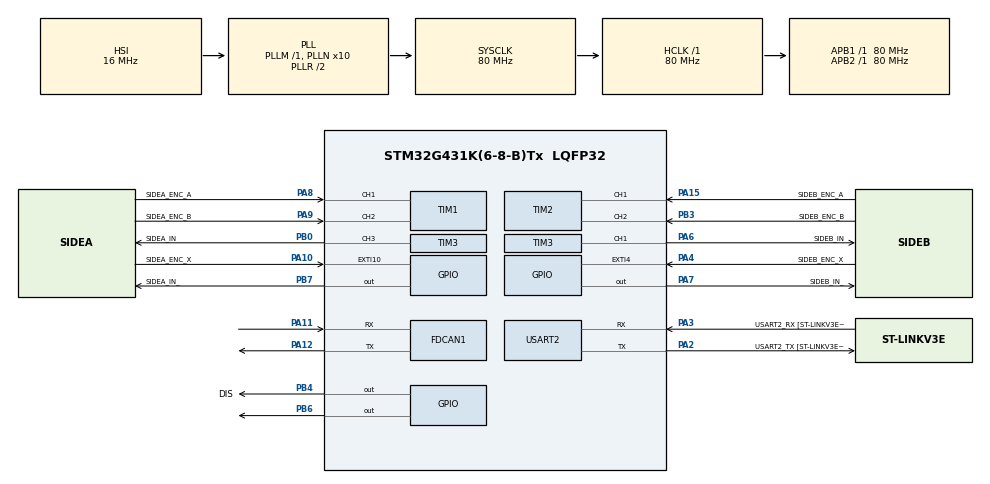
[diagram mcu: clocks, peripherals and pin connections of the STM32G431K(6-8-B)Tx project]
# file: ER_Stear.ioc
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FDCAN1.CalculateBaudRateNominal=1000000
FDCAN1.CalculateTimeBitNominal=1000
FDCAN1.CalculateTimeQuantumNominal=62.5
FDCAN1.DataPrescaler=2
FDCAN1.DataSyncJumpWidth=2
FDCAN1.DataTimeSeg1=10
FDCAN1.DataTimeSeg2=9
FDCAN1.FrameFormat=FDCAN_FRAME_FD_BRS
FDCAN1.NominalPrescaler=5
FDCAN1.NominalSyncJumpWidth=2
FDCAN1.NominalTimeSeg1=13
FDCAN1.StdFiltersNbr=1
Mcu.Family=STM32G4
Mcu.Name=STM32G431K(6-8-B)Tx
Mcu.Package=LQFP32
NVIC.EXTI15_10_IRQn=true\:0\:0\:false\:false\:true\:true\:true\:true
NVIC.EXTI4_IRQn=true\:0\:0\:false\:false\:true\:true\:true\:true
NVIC.FDCAN1_IT0_IRQn=true\:0\:0\:false\:false\:true\:true\:true\:true
NVIC.PriorityGroup=NVIC_PRIORITYGROUP_4
NVIC.TIM1_TRG_COM_TIM17_IRQn=true\:15\:0\:false\:false\:true\:false\:true\:true
NVIC.TIM4_IRQn=true\:0\:0\:false\:false\:true\:true\:true\:true
NVIC.TimeBase=TIM1_TRG_COM_TIM17_IRQn
NVIC.TimeBaseIP=TIM17
NVIC.USART2_IRQn=true\:0\:0\:false\:false\:true\:true\:true\:true
PA10.GPIO_Label=SIDEA_ENC_X
PA10.Signal=GPXTI10
PA11.Mode=FDCAN_Activate
PA11.Signal=FDCAN1_RX
PA12.Mode=FDCAN_Activate
PA12.Signal=FDCAN1_TX
PA13.GPIO_Label=T_SWDIO
PA13.Mode=Serial_Wire
PA13.Signal=SYS_JTMS-SWDIO
PA14.GPIO_Label=T_SWCLK
PA14.Mode=Serial_Wire
PA14.Signal=SYS_JTCK-SWCLK
PA15.GPIO_Label=SIDEB_ENC_A
PA15.GPIO_PuPd=GPIO_PULLDOWN
PA15.Signal=S_TIM2_CH1
PA2.GPIO_Label=USART2_TX [ST-LINKV3E_VCP_RX]
PA2.Mode=Asynchronous
PA2.Signal=USART2_TX
PA3.GPIO_Label=USART2_RX [ST-LINKV3E_VCP_TX]
PA3.Mode=Asynchronous
PA3.Signal=USART2_RX
PA4.GPIO_Label=SIDEB_ENC_X
PA4.Signal=GPXTI4
PA6.GPIO_Label=SIDEB_IN
PA6.Signal=S_TIM3_CH1
PA7.GPIO_Label=SIDEB_IN_
PA7.Signal=GPIO_Output
PA8.GPIO_Label=SIDEA_ENC_A
PA8.Signal=S_TIM1_CH1
PA9.GPIO_Label=SIDEA_ENC_B
PA9.Signal=S_TIM1_CH2
PB0.GPIO_Label=SIDEA_IN
PB0.Signal=S_TIM3_CH3
PB3.GPIO_Label=SIDEB_ENC_B
PB3.Signal=S_TIM2_CH2
PB4.GPIO_Label=DIS
PB4.Signal=GPIO_Output
PB6.Signal=GPIO_Output
PB7.GPIO_Label=SIDEA_IN_
PB7.Signal=GPIO_Output
ProjectManager.HeapSize=0x200
ProjectManager.StackSize=0x400
ProjectManager.TargetToolchain=STM32CubeIDE
RCC.ADC12Freq_Value=80000000
RCC.AHBFreq_Value=80000000
RCC.APB1Freq_Value=80000000
RCC.APB1TimFreq_Value=80000000
RCC.APB2Freq_Value=80000000
RCC.APB2TimFreq_Value=80000000
RCC.CortexFreq_Value=80000000
RCC.EXTERNAL_CLOCK_VALUE=12288000
RCC.HCLKFreq_Value=80000000
RCC.HSE_VALUE=8000000
RCC.HSI48_VALUE=48000000
RCC.HSI_VALUE=16000000
RCC.LSE_VALUE=32768
RCC.PLLN=10
RCC.SYSCLKFreq_VALUE=80000000
RCC.SYSCLKSource=RCC_SYSCLKSOURCE_PLLCLK
RCC.USBFreq_Value=80000000
RCC.VCOOutputFreq_Value=160000000
SH.S_TIM1_CH1.0=TIM1_CH1,Encoder_Interface
SH.S_TIM1_CH2.0=TIM1_CH2,Encoder_Interface
SH.S_TIM2_CH1.0=TIM2_CH1,Encoder_Interface
SH.S_TIM2_CH2.0=TIM2_CH2,Encoder_Interface
SH.S_TIM3_CH1.0=TIM3_CH1,PWM Generation1 CH1
SH.S_TIM3_CH3.0=TIM3_CH3,PWM Generation3 CH3
TIM1.EncoderMode=TIM_ENCODERMODE_TI12
TIM2.EncoderMode=TIM_ENCODERMODE_CLOCKPLUSDIRECTION_X1
TIM3.Channel-PWM\ Generation1\ CH1=TIM_CHANNEL_1
TIM3.Channel-PWM\ Generation3\ CH3=TIM_CHANNEL_3
TIM3.PeriodNoDither=1000-1
TIM3.Prescaler=8-1
TIM4.PeriodNoDither=1000-1
TIM4.Prescaler=80-1
USART2.VirtualMode-Asynchronous=VM_ASYNC
USART2.WordLength=WORDLENGTH_8B
VP_SYS_VS_DBSignals.Mode=DisableDeadBatterySignals
VP_SYS_VS_tim17.Mode=TIM17
VP_TIM3_VS_ClockSourceINT.Mode=Internal
VP_TIM4_VS_ClockSourceINT.Mode=Internal
board=NUCLEO-G431KB

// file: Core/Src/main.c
/* USER CODE BEGIN Header */
/**
  ******************************************************************************
  * @file           : main.c
  * @brief          : Main program body
  ******************************************************************************
  * @attention
  *
  * <h2><center>&copy; Copyright (c) 2023 STMicroelectronics.
  * All rights reserved.</center></h2>
  *
  * This software component is licensed by ST under BSD 3-Clause license,
  * the "License"; You may not use this file except in compliance with the
  * License. You may obtain a copy of the License at:
  *                        opensource.org/licenses/BSD-3-Clause
  *
  ******************************************************************************
  */
/* USER CODE END Header */
#include "main.h"

/* USER CODE BEGIN Includes */
#include "stdio.h"
#include "math.h"
#include <stdlib.h>
#include "PID.h"
/* USER CODE END Includes */

/* USER CODE BEGIN PD */
#define ENCODER_PR_STEER 8192
#define ENCODER_PR_WHEEL 1500

#define FILTER_C 0.9f

#define __abs(x) (((x) > 0) ? (x) : (-1*x))
/* USER CODE END PD */

/* USER CODE BEGIN PM */

#define M1

#ifdef M1
#define THIS_STATUS_CAN_ID 0x511
#define PADDING 0
#endif
#ifdef M2
#define THIS_STATUS_CAN_ID 0x512
#define PADDING 1
#endif
#ifdef M3
#define THIS_STATUS_CAN_ID 0x513
#define PADDING 2
#endif
#ifdef M4
#define THIS_STATUS_CAN_ID 0x514
#define PADDING 3
#endif
/* USER CODE END PM */

FDCAN_HandleTypeDef hfdcan1;

TIM_HandleTypeDef htim1;
TIM_HandleTypeDef htim2;
TIM_HandleTypeDef htim3;
TIM_HandleTypeDef htim4;

UART_HandleTypeDef huart2;

/* USER CODE BEGIN PV */
PIDparamshandleTypeDef hpidSteer = {0};
PIDparamshandleTypeDef hpidWheel = {0};

int16_t enc_buff_A;
int16_t enc_buff_B;

#define BUFF_LEN 5
uint8_t UART_BUFF[BUFF_LEN];

float steer_angle = 0;
float steer_angle_target = 0;
int steer_duty = 0;

float speed = 0;
float speed_target = 0;
int speed_duty = 0;

FDCAN_TxHeaderTypeDef TxHeader;
FDCAN_RxHeaderTypeDef RxHeader;
FDCAN_FilterTypeDef sFilterConfig;

uint8_t TxData[1];
uint8_t RxData[32];
uint32_t TxMailbox;
/* USER CODE END PV */

void SystemClock_Config(void);
static void MX_GPIO_Init(void);
static void MX_USART2_UART_Init(void);
static void MX_TIM1_Init(void);
static void MX_TIM2_Init(void);
static void MX_TIM3_Init(void);
static void MX_TIM4_Init(void);
static void MX_FDCAN1_Init(void);

int main(void)
{
  /* USER CODE BEGIN 1 */
  setbuf(stdout, NULL);
  /* USER CODE END 1 */

  /* MCU Configuration--------------------------------------------------------*/

  /* Reset of all peripherals, Initializes the Flash interface and the Systick. */
  HAL_Init();

  /* Configure the system clock */
  SystemClock_Config();

  /* Initialize all configured peripherals */
  MX_GPIO_Init();
  MX_USART2_UART_Init();
  MX_TIM1_Init();
  MX_TIM2_Init();
  MX_TIM3_Init();
  MX_TIM4_Init();
  MX_FDCAN1_Init();
  /* USER CODE BEGIN 2 */
  HAL_TIM_Encoder_Start(&htim1, TIM_CHANNEL_ALL);
  HAL_TIM_Encoder_Start(&htim2, TIM_CHANNEL_ALL);
  HAL_TIM_PWM_Start(&htim3, TIM_CHANNEL_1);
  HAL_TIM_PWM_Start(&htim3, TIM_CHANNEL_2);
  HAL_TIM_PWM_Start(&htim3, TIM_CHANNEL_3);
  HAL_TIM_PWM_Start(&htim3, TIM_CHANNEL_4);
  HAL_TIM_Base_Start_IT(&htim4);
  HAL_UART_Receive_IT(&huart2, UART_BUFF, BUFF_LEN);

  SETPIDGAIN(&hpidSteer, 78.25f, 14.25f, 7.75f);
  SETPIDGAIN(&hpidWheel, 1.0f, 0.00f, 0);

    TxHeader.Identifier = THIS_STATUS_CAN_ID;
    TxHeader.IdType = FDCAN_STANDARD_ID;
    TxHeader.TxFrameType = FDCAN_DATA_FRAME;
    TxHeader.DataLength = FDCAN_DLC_BYTES_1;
    TxHeader.ErrorStateIndicator = FDCAN_ESI_ACTIVE;
    TxHeader.BitRateSwitch = FDCAN_BRS_ON;
    TxHeader.FDFormat = FDCAN_FD_CAN;
    TxHeader.TxEventFifoControl = FDCAN_NO_TX_EVENTS;
    TxHeader.MessageMarker = 0;

    FDCAN_FilterTypeDef sFilterConfig;
    sFilterConfig.IdType = FDCAN_STANDARD_ID;
    sFilterConfig.FilterIndex = 0;
    sFilterConfig.FilterType = FDCAN_FILTER_DUAL;
    sFilterConfig.FilterConfig = FDCAN_FILTER_TO_RXFIFO0;
    sFilterConfig.FilterID1 = 0x051;
    sFilterConfig.FilterID2 = 0x101;

    if (HAL_FDCAN_ConfigFilter(&hfdcan1, &sFilterConfig) != HAL_OK) {
        Error_Handler();
    }
    if (HAL_FDCAN_ConfigGlobalFilter(&hfdcan1, FDCAN_REJECT, FDCAN_REJECT, FDCAN_FILTER_REMOTE, FDCAN_FILTER_REMOTE) !=
        HAL_OK) {
        Error_Handler();
    }

    /* Start the FDCAN module */
    if (HAL_FDCAN_Start(&hfdcan1) != HAL_OK) {
        Error_Handler();
    }
    if (HAL_FDCAN_ActivateNotification(&hfdcan1, FDCAN_IT_RX_FIFO0_NEW_MESSAGE, 0) != HAL_OK){
        Error_Handler();
    }
  /* USER CODE END 2 */

  /* Infinite loop */
  /* USER CODE BEGIN WHILE */
  while (1)
  {
    printf("%.3f, %.3f, %d\r\n", steer_angle, speed, speed_duty);
    HAL_Delay(10);
    /* USER CODE END WHILE */

  }
}

void SystemClock_Config(void)
{
  RCC_OscInitTypeDef RCC_OscInitStruct = {0};
  RCC_ClkInitTypeDef RCC_ClkInitStruct = {0};

  /** Configure the main internal regulator output voltage
  */
  HAL_PWREx_ControlVoltageScaling(PWR_REGULATOR_VOLTAGE_SCALE1);

  /** Initializes the RCC Oscillators according to the specified parameters
  * in the RCC_OscInitTypeDef structure.
  */
  RCC_OscInitStruct.OscillatorType = RCC_OSCILLATORTYPE_HSI;
  RCC_OscInitStruct.HSIState = RCC_HSI_ON;
  RCC_OscInitStruct.HSICalibrationValue = RCC_HSICALIBRATION_DEFAULT;
  RCC_OscInitStruct.PLL.PLLState = RCC_PLL_ON;
  RCC_OscInitStruct.PLL.PLLSource = RCC_PLLSOURCE_HSI;
  RCC_OscInitStruct.PLL.PLLM = RCC_PLLM_DIV1;
  RCC_OscInitStruct.PLL.PLLN = 10;
  RCC_OscInitStruct.PLL.PLLP = RCC_PLLP_DIV2;
  RCC_OscInitStruct.PLL.PLLQ = RCC_PLLQ_DIV2;
  RCC_OscInitStruct.PLL.PLLR = RCC_PLLR_DIV2;
  if (HAL_RCC_OscConfig(&RCC_OscInitStruct) != HAL_OK)
  {
    Error_Handler();
  }

  /** Initializes the CPU, AHB and APB buses clocks
  */
  RCC_ClkInitStruct.ClockType = RCC_CLOCKTYPE_HCLK|RCC_CLOCKTYPE_SYSCLK
                              |RCC_CLOCKTYPE_PCLK1|RCC_CLOCKTYPE_PCLK2;
  RCC_ClkInitStruct.SYSCLKSource = RCC_SYSCLKSOURCE_PLLCLK;
  RCC_ClkInitStruct.AHBCLKDivider = RCC_SYSCLK_DIV1;
  RCC_ClkInitStruct.APB1CLKDivider = RCC_HCLK_DIV1;
  RCC_ClkInitStruct.APB2CLKDivider = RCC_HCLK_DIV1;

  if (HAL_RCC_ClockConfig(&RCC_ClkInitStruct, FLASH_LATENCY_2) != HAL_OK)
  {
    Error_Handler();
  }
}

static void MX_FDCAN1_Init(void)
{

  hfdcan1.Instance = FDCAN1;
  hfdcan1.Init.ClockDivider = FDCAN_CLOCK_DIV1;
  hfdcan1.Init.FrameFormat = FDCAN_FRAME_FD_BRS;
  hfdcan1.Init.Mode = FDCAN_MODE_NORMAL;
  hfdcan1.Init.AutoRetransmission = DISABLE;
  hfdcan1.Init.TransmitPause = DISABLE;
  hfdcan1.Init.ProtocolException = DISABLE;
  hfdcan1.Init.NominalPrescaler = 5;
  hfdcan1.Init.NominalSyncJumpWidth = 2;
  hfdcan1.Init.NominalTimeSeg1 = 13;
  hfdcan1.Init.NominalTimeSeg2 = 2;
  hfdcan1.Init.DataPrescaler = 2;
  hfdcan1.Init.DataSyncJumpWidth = 2;
  hfdcan1.Init.DataTimeSeg1 = 10;
  hfdcan1.Init.DataTimeSeg2 = 9;
  hfdcan1.Init.StdFiltersNbr = 1;
  hfdcan1.Init.ExtFiltersNbr = 0;
  hfdcan1.Init.TxFifoQueueMode = FDCAN_TX_FIFO_OPERATION;
  if (HAL_FDCAN_Init(&hfdcan1) != HAL_OK)
  {
    Error_Handler();
  }

}

static void MX_TIM1_Init(void)
{

  TIM_Encoder_InitTypeDef sConfig = {0};
  TIM_MasterConfigTypeDef sMasterConfig = {0};

  htim1.Instance = TIM1;
  htim1.Init.Prescaler = 0;
  htim1.Init.CounterMode = TIM_COUNTERMODE_UP;
  htim1.Init.Period = 65535;
  htim1.Init.ClockDivision = TIM_CLOCKDIVISION_DIV1;
  htim1.Init.RepetitionCounter = 0;
  htim1.Init.AutoReloadPreload = TIM_AUTORELOAD_PRELOAD_DISABLE;
  sConfig.EncoderMode = TIM_ENCODERMODE_TI12;
  sConfig.IC1Polarity = TIM_ICPOLARITY_RISING;
  sConfig.IC1Selection = TIM_ICSELECTION_DIRECTTI;
  sConfig.IC1Prescaler = TIM_ICPSC_DIV1;
  sConfig.IC1Filter = 0;
  sConfig.IC2Polarity = TIM_ICPOLARITY_RISING;
  sConfig.IC2Selection = TIM_ICSELECTION_DIRECTTI;
  sConfig.IC2Prescaler = TIM_ICPSC_DIV1;
  sConfig.IC2Filter = 0;
  if (HAL_TIM_Encoder_Init(&htim1, &sConfig) != HAL_OK)
  {
    Error_Handler();
  }
  sMasterConfig.MasterOutputTrigger = TIM_TRGO_RESET;
  sMasterConfig.MasterOutputTrigger2 = TIM_TRGO2_RESET;
  sMasterConfig.MasterSlaveMode = TIM_MASTERSLAVEMODE_DISABLE;
  if (HAL_TIMEx_MasterConfigSynchronization(&htim1, &sMasterConfig) != HAL_OK)
  {
    Error_Handler();
  }

}

static void MX_TIM2_Init(void)
{

  TIM_Encoder_InitTypeDef sConfig = {0};
  TIM_MasterConfigTypeDef sMasterConfig = {0};

  htim2.Instance = TIM2;
  htim2.Init.Prescaler = 0;
  htim2.Init.CounterMode = TIM_COUNTERMODE_UP;
  htim2.Init.Period = 4.294967295E9;
  htim2.Init.ClockDivision = TIM_CLOCKDIVISION_DIV1;
  htim2.Init.AutoReloadPreload = TIM_AUTORELOAD_PRELOAD_DISABLE;
  sConfig.EncoderMode = TIM_ENCODERMODE_CLOCKPLUSDIRECTION_X1;
  sConfig.IC1Polarity = TIM_ICPOLARITY_RISING;
  sConfig.IC1Selection = TIM_ICSELECTION_DIRECTTI;
  sConfig.IC1Prescaler = TIM_ICPSC_DIV1;
  sConfig.IC1Filter = 0;
  sConfig.IC2Polarity = TIM_ICPOLARITY_RISING;
  sConfig.IC2Selection = TIM_ICSELECTION_DIRECTTI;
  sConfig.IC2Prescaler = TIM_ICPSC_DIV1;
  sConfig.IC2Filter = 0;
  if (HAL_TIM_Encoder_Init(&htim2, &sConfig) != HAL_OK)
  {
    Error_Handler();
  }
  sMasterConfig.MasterOutputTrigger = TIM_TRGO_RESET;
  sMasterConfig.MasterSlaveMode = TIM_MASTERSLAVEMODE_DISABLE;
  if (HAL_TIMEx_MasterConfigSynchronization(&htim2, &sMasterConfig) != HAL_OK)
  {
    Error_Handler();
  }

}

static void MX_TIM3_Init(void)
{

  TIM_ClockConfigTypeDef sClockSourceConfig = {0};
  TIM_MasterConfigTypeDef sMasterConfig = {0};
  TIM_OC_InitTypeDef sConfigOC = {0};

  htim3.Instance = TIM3;
  htim3.Init.Prescaler = 8-1;
  htim3.Init.CounterMode = TIM_COUNTERMODE_UP;
  htim3.Init.Period = 999;
  htim3.Init.ClockDivision = TIM_CLOCKDIVISION_DIV1;
  htim3.Init.AutoReloadPreload = TIM_AUTORELOAD_PRELOAD_DISABLE;
  if (HAL_TIM_Base_Init(&htim3) != HAL_OK)
  {
    Error_Handler();
  }
  sClockSourceConfig.ClockSource = TIM_CLOCKSOURCE_INTERNAL;
  if (HAL_TIM_ConfigClockSource(&htim3, &sClockSourceConfig) != HAL_OK)
  {
    Error_Handler();
  }
  if (HAL_TIM_PWM_Init(&htim3) != HAL_OK)
  {
    Error_Handler();
  }
  sMasterConfig.MasterOutputTrigger = TIM_TRGO_RESET;
  sMasterConfig.MasterSlaveMode = TIM_MASTERSLAVEMODE_DISABLE;
  if (HAL_TIMEx_MasterConfigSynchronization(&htim3, &sMasterConfig) != HAL_OK)
  {
    Error_Handler();
  }
  sConfigOC.OCMode = TIM_OCMODE_PWM1;
  sConfigOC.Pulse = 0;
  sConfigOC.OCPolarity = TIM_OCPOLARITY_HIGH;
  sConfigOC.OCFastMode = TIM_OCFAST_DISABLE;
  if (HAL_TIM_PWM_ConfigChannel(&htim3, &sConfigOC, TIM_CHANNEL_1) != HAL_OK)
  {
    Error_Handler();
  }
  if (HAL_TIM_PWM_ConfigChannel(&htim3, &sConfigOC, TIM_CHANNEL_3) != HAL_OK)
  {
    Error_Handler();
  }
  HAL_TIM_MspPostInit(&htim3);

}

static void MX_TIM4_Init(void)
{

  TIM_ClockConfigTypeDef sClockSourceConfig = {0};
  TIM_MasterConfigTypeDef sMasterConfig = {0};

  htim4.Instance = TIM4;
  htim4.Init.Prescaler = 80-1;
  htim4.Init.CounterMode = TIM_COUNTERMODE_UP;
  htim4.Init.Period = 999;
  htim4.Init.ClockDivision = TIM_CLOCKDIVISION_DIV1;
  htim4.Init.AutoReloadPreload = TIM_AUTORELOAD_PRELOAD_DISABLE;
  if (HAL_TIM_Base_Init(&htim4) != HAL_OK)
  {
    Error_Handler();
  }
  sClockSourceConfig.ClockSource = TIM_CLOCKSOURCE_INTERNAL;
  if (HAL_TIM_ConfigClockSource(&htim4, &sClockSourceConfig) != HAL_OK)
  {
    Error_Handler();
  }
  sMasterConfig.MasterOutputTrigger = TIM_TRGO_RESET;
  sMasterConfig.MasterSlaveMode = TIM_MASTERSLAVEMODE_DISABLE;
  if (HAL_TIMEx_MasterConfigSynchronization(&htim4, &sMasterConfig) != HAL_OK)
  {
    Error_Handler();
  }

}

static void MX_USART2_UART_Init(void)
{

  huart2.Instance = USART2;
  huart2.Init.BaudRate = 115200;
  huart2.Init.WordLength = UART_WORDLENGTH_8B;
  huart2.Init.StopBits = UART_STOPBITS_1;
  huart2.Init.Parity = UART_PARITY_NONE;
  huart2.Init.Mode = UART_MODE_TX_RX;
  huart2.Init.HwFlowCtl = UART_HWCONTROL_NONE;
  huart2.Init.OverSampling = UART_OVERSAMPLING_16;
  huart2.Init.OneBitSampling = UART_ONE_BIT_SAMPLE_DISABLE;
  huart2.Init.ClockPrescaler = UART_PRESCALER_DIV1;
  huart2.AdvancedInit.AdvFeatureInit = UART_ADVFEATURE_NO_INIT;
  if (HAL_UART_Init(&huart2) != HAL_OK)
  {
    Error_Handler();
  }
  if (HAL_UARTEx_SetTxFifoThreshold(&huart2, UART_TXFIFO_THRESHOLD_1_8) != HAL_OK)
  {
    Error_Handler();
  }
  if (HAL_UARTEx_SetRxFifoThreshold(&huart2, UART_RXFIFO_THRESHOLD_1_8) != HAL_OK)
  {
    Error_Handler();
  }
  if (HAL_UARTEx_DisableFifoMode(&huart2) != HAL_OK)
  {
    Error_Handler();
  }

}

static void MX_GPIO_Init(void)
{
  GPIO_InitTypeDef GPIO_InitStruct = {0};

  /* GPIO Ports Clock Enable */
  __HAL_RCC_GPIOA_CLK_ENABLE();
  __HAL_RCC_GPIOB_CLK_ENABLE();

  /*Configure GPIO pin Output Level */
  HAL_GPIO_WritePin(SIDEB_IN__GPIO_Port, SIDEB_IN__Pin, GPIO_PIN_RESET);

  /*Configure GPIO pin Output Level */
  HAL_GPIO_WritePin(GPIOB, DIS_Pin|GPIO_PIN_6|SIDEA_IN__Pin, GPIO_PIN_RESET);

  /*Configure GPIO pins : SIDEB_ENC_X_Pin SIDEA_ENC_X_Pin */
  GPIO_InitStruct.Pin = SIDEB_ENC_X_Pin|SIDEA_ENC_X_Pin;
  GPIO_InitStruct.Mode = GPIO_MODE_IT_RISING;
  GPIO_InitStruct.Pull = GPIO_NOPULL;
  HAL_GPIO_Init(GPIOA, &GPIO_InitStruct);

  /*Configure GPIO pin : SIDEB_IN__Pin */
  GPIO_InitStruct.Pin = SIDEB_IN__Pin;
  GPIO_InitStruct.Mode = GPIO_MODE_OUTPUT_PP;
  GPIO_InitStruct.Pull = GPIO_NOPULL;
  GPIO_InitStruct.Speed = GPIO_SPEED_FREQ_LOW;
  HAL_GPIO_Init(SIDEB_IN__GPIO_Port, &GPIO_InitStruct);

  /*Configure GPIO pins : DIS_Pin PB6 SIDEA_IN__Pin */
  GPIO_InitStruct.Pin = DIS_Pin|GPIO_PIN_6|SIDEA_IN__Pin;
  GPIO_InitStruct.Mode = GPIO_MODE_OUTPUT_PP;
  GPIO_InitStruct.Pull = GPIO_NOPULL;
  GPIO_InitStruct.Speed = GPIO_SPEED_FREQ_LOW;
  HAL_GPIO_Init(GPIOB, &GPIO_InitStruct);

  /* EXTI interrupt init*/
  HAL_NVIC_SetPriority(EXTI4_IRQn, 0, 0);
  HAL_NVIC_EnableIRQ(EXTI4_IRQn);

  HAL_NVIC_SetPriority(EXTI15_10_IRQn, 0, 0);
  HAL_NVIC_EnableIRQ(EXTI15_10_IRQn);

}

/* USER CODE BEGIN 4 */
int _write(int file, char *ptr, int len) {
  HAL_UART_Transmit(&huart2, (uint8_t *)ptr, len, 10);
  return len;
}

int wheel_Feedfoward(float target) {
//  return (int)(target / 141600.0f * 999.0f);
  return (int)(target / 62000.0f * 990.0f);
//  return (int)target;
}

void HAL_GPIO_EXTI_Callback(uint16_t GPIO_Pin) {
  if (GPIO_Pin == GPIO_PIN_10) {
    //    do when SIDE A Encoder X phase detected
  }
  if (GPIO_Pin == GPIO_PIN_4) {
    //    do when SIDE B Encoder X phase detected
  }
}

// for testing
void HAL_UART_RxCpltCallback(UART_HandleTypeDef *huart) {
  if (huart->Instance == USART2) {
    float raw_message = atoff(UART_BUFF);
//    steer_angle_target = (int)(raw_message / 1000.0f);
//    speed_target = (float)(((int)raw_message) % 10000);
    speed_target = raw_message;
    printf("%f, %f\r\n", steer_angle_target, speed_target);
    HAL_UART_Receive_IT(&huart2, UART_BUFF, BUFF_LEN);
  }
}

void HAL_FDCAN_RxFifo0Callback(FDCAN_HandleTypeDef *hfdcan1, uint32_t RxFifo0ITs) {
    if ((RxFifo0ITs & FDCAN_IT_RX_FIFO0_NEW_MESSAGE) != RESET) {
        /* Retrieve Rx messages from RX FIFO0 */
        if (HAL_FDCAN_GetRxMessage(hfdcan1, FDCAN_RX_FIFO0, &RxHeader, RxData) != HAL_OK) {
            Error_Handler();
        }

        if ((RxHeader.Identifier == 0x101)) {
            union {
                uint8_t bytes[4];
                float data;
            }Velocity_Data;
            for (int i = 0; i < 4; ++i) {
                Velocity_Data.bytes[i] = RxData[i + 4 * PADDING];
            }
            //insert Velocity_Data[m/s] to velocity data of stear
            float velocity_rad = 0;
            velocity_rad = Velocity_Data.data / 0.05 * 17.8;    // adjust to rad/s
            speed_target = velocity_rad;

            union {
                uint8_t bytes[4];
                float data;
            }Radian_Data;
            for (int i = 0; i < 4; ++i) {
                Radian_Data.bytes[i] = RxData[i + 16 + 4 * PADDING];
            }
            steer_angle_target = Radian_Data.data;
            //insert Radiant_Data[rad/s] to radiant data of stear
        }
        if ((RxHeader.Identifier == 0x051)) {
            //todo, Please write reset code
            steer_duty = 0;
            steer_angle = 0;
        }
    }
}
/* USER CODE END 4 */

void HAL_TIM_PeriodElapsedCallback(TIM_HandleTypeDef *htim)
{
  if (htim->Instance == TIM17) {
    HAL_IncTick();
  }
  /* USER CODE BEGIN Callback 1 */
  if (htim->Instance == TIM4) {
    float dt = 0.001f;

    /* steering */
    enc_buff_A = __HAL_TIM_GET_COUNTER(&htim1);
    __HAL_TIM_SET_COUNTER(&htim1, 0);
    steer_angle += (float)enc_buff_A / ENCODER_PR_STEER * 360.0f;
    steer_duty = calc_PID(&hpidSteer, steer_angle_target, steer_angle, dt);
    if (steer_duty > 990) {
      SETWINDUPFLAG(&hpidSteer, 1);
      steer_duty = 990;
    } else if (steer_duty < -990) {
      SETWINDUPFLAG(&hpidSteer, 1);
      steer_duty = -990;
    } else {
      SETWINDUPFLAG(&hpidSteer, 0);
    }
    if (steer_duty >= 0) {
      HAL_GPIO_WritePin(SIDEA_IN__GPIO_Port, SIDEA_IN__Pin, GPIO_PIN_SET);
    } else {
      HAL_GPIO_WritePin(SIDEA_IN__GPIO_Port, SIDEA_IN__Pin, GPIO_PIN_RESET);
    }
    __HAL_TIM_SET_COMPARE(&htim3, TIM_CHANNEL_3, __abs(steer_duty));

    /* wheel */
    enc_buff_B = __HAL_TIM_GET_COUNTER(&htim2);
    __HAL_TIM_SET_COUNTER(&htim2, 0);
    speed = speed * FILTER_C + (1 - FILTER_C) * ((float)enc_buff_B / ((float)ENCODER_PR_WHEEL)) / dt * 360.0f;
    speed = __abs(speed);
    speed_duty = wheel_Feedfoward(speed_target) + calc_PID(&hpidWheel, speed_target, speed, dt);
//    speed_duty = wheel_Feedfoward(speed_target);

    if (speed_duty > 990) {
      SETWINDUPFLAG(&hpidWheel, 0);
      speed_duty = 990;
    } else if (speed_duty < -990) {
      SETWINDUPFLAG(&hpidWheel, 1);
      speed_duty = -990;
    } else {
      SETWINDUPFLAG(&hpidWheel, 1);
    }
    if (speed_duty >= 0) {
      HAL_GPIO_WritePin(SIDEB_IN__GPIO_Port, SIDEB_IN__Pin, GPIO_PIN_SET);
    } else {
      HAL_GPIO_WritePin(SIDEB_IN__GPIO_Port, SIDEB_IN__Pin, GPIO_PIN_RESET);
    }
    __HAL_TIM_SET_COMPARE(&htim3, TIM_CHANNEL_1, __abs(speed_duty));
//    __HAL_TIM_SET_COMPARE(&htim3, TIM_CHANNEL_1, 500);
  }
  /* USER CODE END Callback 1 */
}

void Error_Handler(void)
{
  __disable_irq();
  while (1)
  {
  }
}
